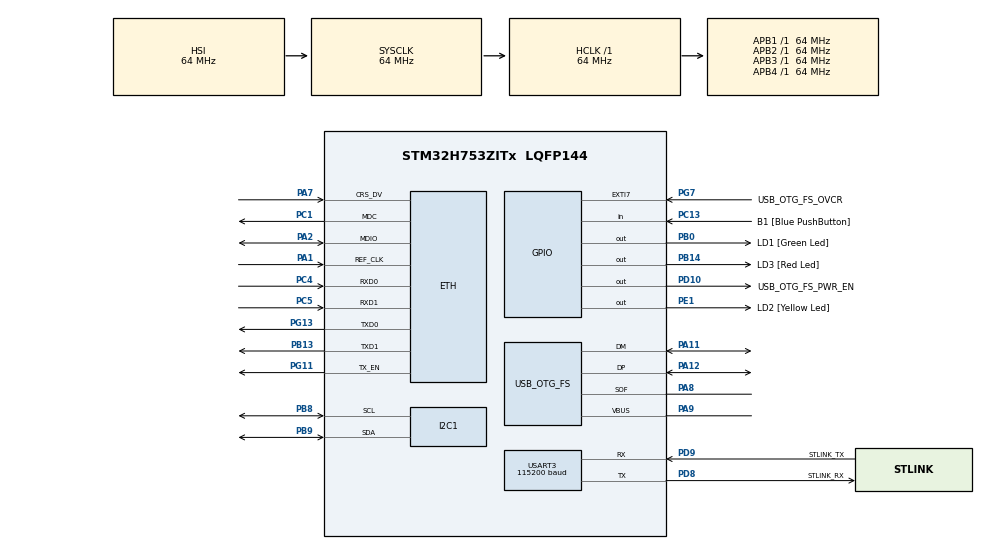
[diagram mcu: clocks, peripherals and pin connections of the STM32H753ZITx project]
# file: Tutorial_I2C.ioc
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CORTEX_M7.CPU_DCache=Disabled
CORTEX_M7.CPU_ICache=Disabled
CORTEX_M7.MPU_Control=__NULL
ETH.ETH_RX_DESC_CNT=4
ETH.ETH_TX_DESC_CNT=4
ETH.MACAddr=00\:80\:E1\:00\:00\:00
ETH.MediaInterface=HAL_ETH_RMII_MODE
ETH.RxBuffAddress=0x30040200
ETH.RxBuffLen=1524
ETH.RxDescAddress=0x30040000
ETH.TxDescAddress=0x30040060
Mcu.Family=STM32H7
Mcu.Name=STM32H753ZITx
Mcu.Package=LQFP144
NVIC.PriorityGroup=NVIC_PRIORITYGROUP_4
NVIC.USART3_IRQn=true\:0\:0\:false\:false\:true\:true\:true\:true
PA1.Mode=RMII
PA1.Signal=ETH_REF_CLK
PA11.Mode=Device_Only
PA11.Signal=USB_OTG_FS_DM
PA12.Mode=Device_Only
PA12.Signal=USB_OTG_FS_DP
PA2.Mode=RMII
PA2.Signal=ETH_MDIO
PA7.Mode=RMII
PA7.Signal=ETH_CRS_DV
PA8.Mode=Activate_SOF_FS
PA8.Signal=USB_OTG_FS_SOF
PA9.Mode=Activate_VBUS
PA9.Signal=USB_OTG_FS_VBUS
PB0.GPIO_Label=LD1 [Green Led]
PB0.Signal=GPIO_Output
PB13.Mode=RMII
PB13.Signal=ETH_TXD1
PB14.GPIO_Label=LD3 [Red Led]
PB14.Signal=GPIO_Output
PB8.GPIO_Pu=GPIO_PULLUP
PB8.GPIO_Speed=GPIO_SPEED_FREQ_VERY_HIGH
PB8.Mode=I2C
PB8.Signal=I2C1_SCL
PB9.GPIO_Pu=GPIO_PULLUP
PB9.GPIO_Speed=GPIO_SPEED_FREQ_VERY_HIGH
PB9.Mode=I2C
PB9.Signal=I2C1_SDA
PC1.Mode=RMII
PC1.Signal=ETH_MDC
PC13.GPIO_Label=B1 [Blue PushButton]
PC13.Signal=GPIO_Input
PC14-OSC32_IN\ (OSC32_IN).Mode=LSE-External-Oscillator
PC14-OSC32_IN\ (OSC32_IN).Signal=RCC_OSC32_IN
PC15-OSC32_OUT\ (OSC32_OUT).Mode=LSE-External-Oscillator
PC15-OSC32_OUT\ (OSC32_OUT).Signal=RCC_OSC32_OUT
PC4.Mode=RMII
PC4.Signal=ETH_RXD0
PC5.Mode=RMII
PC5.Signal=ETH_RXD1
PD10.GPIO_Label=USB_OTG_FS_PWR_EN
PD10.Signal=GPIO_Output
PD8.GPIO_Label=STLINK_RX
PD8.GPIO_PuPd=GPIO_NOPULL
PD8.GPIO_Speed=GPIO_SPEED_FREQ_HIGH
PD8.Mode=Asynchronous
PD8.Signal=USART3_TX
PD9.GPIO_Label=STLINK_TX
PD9.GPIO_PuPd=GPIO_NOPULL
PD9.GPIO_Speed=GPIO_SPEED_FREQ_HIGH
PD9.Mode=Asynchronous
PD9.Signal=USART3_RX
PE1.GPIO_Label=LD2 [Yellow Led]
PE1.Signal=GPIO_Output
PG11.Mode=RMII
PG11.Signal=ETH_TX_EN
PG13.Mode=RMII
PG13.Signal=ETH_TXD0
PG7.GPIO_Label=USB_OTG_FS_OVCR
PG7.Signal=GPXTI7
PH0-OSC_IN\ (PH0).Mode=HSE-External-Clock-Source
PH0-OSC_IN\ (PH0).Signal=RCC_OSC_IN
PH1-OSC_OUT\ (PH1).Signal=RCC_OSC_OUT
ProjectManager.HeapSize=0x200
ProjectManager.StackSize=0x400
ProjectManager.TargetToolchain=STM32CubeIDE
RCC.ADCFreq_Value=16125000
RCC.APB1Freq_Value=64000000
RCC.APB2Freq_Value=64000000
RCC.APB3Freq_Value=64000000
RCC.APB4Freq_Value=64000000
RCC.CortexFreq_Value=64000000
RCC.DIVM1=1
RCC.DIVN1=24
RCC.DIVQ1=4
RCC.HCLKFreq_Value=64000000
RCC.HSE_VALUE=8000000
RCC.PLLFRACN=0
RCC.PWR_Regulator_Voltage_Scale=PWR_REGULATOR_VOLTAGE_SCALE2
RCC.SYSCLKFreq_VALUE=64000000
RCC.USBFreq_Value=48000000
USART3.AutoBaudRateEnableParam=UART_ADVFEATURE_AUTOBAUDRATE_DISABLE
USART3.BaudRate=115200
USART3.ClockPrescaler=PRESCALER_DIV1
USART3.DMADisableonRxErrorParam=ADVFEATURE_DMA_ENABLEONRXERROR
USART3.DataInvertParam=ADVFEATURE_DATAINV_DISABLE
USART3.FIFOMode=FIFOMODE_DISABLE
USART3.MSBFirstParam=ADVFEATURE_MSBFIRST_DISABLE
USART3.Mode=MODE_TX_RX
USART3.OneBitSampling=UART_ONE_BIT_SAMPLE_DISABLE
USART3.OverSampling=UART_OVERSAMPLING_16
USART3.OverrunDisableParam=ADVFEATURE_OVERRUN_ENABLE
USART3.Parity=PARITY_NONE
USART3.RXFIFOThreshold=RXFIFO_THRESHOLD_1EIGHTHFULL
USART3.RxPinLevelInvertParam=ADVFEATURE_RXINV_DISABLE
USART3.StopBits=STOPBITS_1
USART3.SwapParam=ADVFEATURE_SWAP_DISABLE
USART3.TXFIFOThreshold=TXFIFO_THRESHOLD_1EIGHTHFULL
USART3.TxPinLevelInvertParam=ADVFEATURE_TXINV_DISABLE
USART3.VirtualMode-Asynchronous=VM_ASYNC
USART3.WordLength=WORDLENGTH_8B
USB_OTG_FS.Sof_enable=ENABLE
USB_OTG_FS.VirtualMode=Device_Only
USB_OTG_FS.battery_charging_enable=ENABLE
USB_OTG_FS.low_power_enable=DISABLE
USB_OTG_FS.lpm_enable=DISABLE
USB_OTG_FS.use_dedicated_ep1=DISABLE
USB_OTG_FS.vbus_sensing_enable=ENABLE
VP_MEMORYMAP_VS_MEMORYMAP.Mode=CurAppReg
board=NUCLEO-H753ZI

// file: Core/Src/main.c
/* USER CODE BEGIN Header */
/**
  ******************************************************************************
  * @file           : main.c
  * @brief          : Main program body
  ******************************************************************************
  * @attention
  *
  * Copyright (c) 2024 STMicroelectronics.
  * All rights reserved.
  *
  * This software is licensed under terms that can be found in the LICENSE file
  * in the root directory of this software component.
  * If no LICENSE file comes with this software, it is provided AS-IS.
  *
  ******************************************************************************
  */
/* USER CODE END Header */
#include "main.h"
#include "string.h"

/* USER CODE BEGIN Includes */
#include <stdio.h>
#include <stdlib.h>
/* USER CODE END Includes */

/* USER CODE BEGIN PD */
#define PCF8591_ADDRESS 0x48 << 1
/* USER CODE END PD */

#if defined ( __ICCARM__ ) /*!< IAR Compiler */
#pragma location=0x30040000
ETH_DMADescTypeDef  DMARxDscrTab[ETH_RX_DESC_CNT]; /* Ethernet Rx DMA Descriptors */
#pragma location=0x30040060
ETH_DMADescTypeDef  DMATxDscrTab[ETH_TX_DESC_CNT]; /* Ethernet Tx DMA Descriptors */

#elif defined ( __CC_ARM )  /* MDK ARM Compiler */

__attribute__((at(0x30040000))) ETH_DMADescTypeDef  DMARxDscrTab[ETH_RX_DESC_CNT]; /* Ethernet Rx DMA Descriptors */
__attribute__((at(0x30040060))) ETH_DMADescTypeDef  DMATxDscrTab[ETH_TX_DESC_CNT]; /* Ethernet Tx DMA Descriptors */

#elif defined ( __GNUC__ ) /* GNU Compiler */

ETH_DMADescTypeDef DMARxDscrTab[ETH_RX_DESC_CNT] __attribute__((section(".RxDecripSection"))); /* Ethernet Rx DMA Descriptors */
ETH_DMADescTypeDef DMATxDscrTab[ETH_TX_DESC_CNT] __attribute__((section(".TxDecripSection")));   /* Ethernet Tx DMA Descriptors */
#endif

ETH_TxPacketConfig TxConfig;

ETH_HandleTypeDef heth;

I2C_HandleTypeDef hi2c1;

UART_HandleTypeDef huart3;

PCD_HandleTypeDef hpcd_USB_OTG_FS;

void SystemClock_Config(void);
static void MX_GPIO_Init(void);
static void MX_ETH_Init(void);
static void MX_USART3_UART_Init(void);
static void MX_USB_OTG_FS_PCD_Init(void);
static void MX_I2C1_Init(void);

/* USER CODE BEGIN 0 */
char command_buffer[13];

char * clean_command_buffer(char *command) {
    while (*command == '\r' || *command == '\n') {
        command++;
    }
    return command;
}

void read_analog(uint8_t channel) {
    uint8_t command_ain;
    uint8_t data;

    switch (channel) {
        case 0: command_ain = 0x40; break;
        case 1: command_ain = 0x41; break;
        case 3: command_ain = 0x43; break;
        default: return;
    }

    HAL_I2C_Master_Transmit(&hi2c1, (uint16_t)PCF8591_ADDRESS, &command_ain, 1, HAL_MAX_DELAY);
    HAL_I2C_Master_Receive(&hi2c1, (uint16_t)PCF8591_ADDRESS, &data, 1, HAL_MAX_DELAY);

    char msg[20];
	sprintf(msg, "AIN%d: %d\n", channel, data);
    HAL_UART_Transmit(&huart3, (uint8_t*)msg, strlen(msg), HAL_MAX_DELAY);
}

void set_dac(uint8_t value) {
    uint8_t command = 0x40;
    uint8_t data[2] = {command, value};

    HAL_I2C_Master_Transmit(&hi2c1, (uint16_t)PCF8591_ADDRESS, data, 2, HAL_MAX_DELAY);

    char msg[20];
    sprintf(msg, "DAC Value: %d\n", value);
    HAL_UART_Transmit(&huart3, (uint8_t*)msg, strlen(msg), HAL_MAX_DELAY);
}

void process_command(char *command) {

	command = clean_command_buffer(command);

    if (strncmp(command, "Read_AIN0", 9) == 0) {
        read_analog(0);
    } else if (strncmp(command, "Read_AIN1", 9) == 0) {
        read_analog(1);
    } else if (strncmp(command, "Read_AIN3", 9) == 0) {
        read_analog(3);
    } else if (strncmp(command, "Set_DAC_", 8) == 0) {
        char *endptr;
        long value = strtol(&command[8], &endptr, 10);

        if (*endptr == '\0' && value >= 0 && value <= 255) {
            set_dac((uint8_t)value);
        } else {
            char error_msg[] = "Valor invalido para o DAC. Deve estar entre 0 e 255.\n";
            HAL_UART_Transmit(&huart3, (uint8_t*)error_msg, strlen(error_msg), HAL_MAX_DELAY);
        }
    } else {
        char error_msg[] = "Comando desconhecido. \n";
        HAL_UART_Transmit(&huart3, (uint8_t*)error_msg, strlen(error_msg), HAL_MAX_DELAY);
    }
}

/* USER CODE END 0 */

int main(void)
{

  /* MCU Configuration--------------------------------------------------------*/

  /* Reset of all peripherals, Initializes the Flash interface and the Systick. */
  HAL_Init();

  /* Configure the system clock */
  SystemClock_Config();

  /* Initialize all configured peripherals */
  MX_GPIO_Init();
  MX_ETH_Init();
  MX_USART3_UART_Init();
  MX_USB_OTG_FS_PCD_Init();
  MX_I2C1_Init();
  /* USER CODE BEGIN 2 */
  memset(command_buffer, 0, sizeof(command_buffer));
  HAL_UART_Receive_IT(&huart3, (uint8_t*)command_buffer, sizeof(command_buffer) - 1);
  /* USER CODE END 2 */

  /* Infinite loop */

    /* USER CODE BEGIN 3 */
  while (1)
  {
   /* USER CODE BEGIN WHILE */

   /* USER CODE END WHILE */
  }
  /* USER CODE END 3 */
}

void SystemClock_Config(void)
{
  RCC_OscInitTypeDef RCC_OscInitStruct = {0};
  RCC_ClkInitTypeDef RCC_ClkInitStruct = {0};

  /** Supply configuration update enable
  */
  HAL_PWREx_ConfigSupply(PWR_LDO_SUPPLY);

  /** Configure the main internal regulator output voltage
  */
  __HAL_PWR_VOLTAGESCALING_CONFIG(PWR_REGULATOR_VOLTAGE_SCALE2);

  while(!__HAL_PWR_GET_FLAG(PWR_FLAG_VOSRDY)) {}

  /** Initializes the RCC Oscillators according to the specified parameters
  * in the RCC_OscInitTypeDef structure.
  */
  RCC_OscInitStruct.OscillatorType = RCC_OSCILLATORTYPE_HSI|RCC_OSCILLATORTYPE_HSE;
  RCC_OscInitStruct.HSEState = RCC_HSE_BYPASS;
  RCC_OscInitStruct.HSIState = RCC_HSI_DIV1;
  RCC_OscInitStruct.HSICalibrationValue = RCC_HSICALIBRATION_DEFAULT;
  RCC_OscInitStruct.PLL.PLLState = RCC_PLL_ON;
  RCC_OscInitStruct.PLL.PLLSource = RCC_PLLSOURCE_HSE;
  RCC_OscInitStruct.PLL.PLLM = 1;
  RCC_OscInitStruct.PLL.PLLN = 24;
  RCC_OscInitStruct.PLL.PLLP = 2;
  RCC_OscInitStruct.PLL.PLLQ = 4;
  RCC_OscInitStruct.PLL.PLLR = 2;
  RCC_OscInitStruct.PLL.PLLRGE = RCC_PLL1VCIRANGE_3;
  RCC_OscInitStruct.PLL.PLLVCOSEL = RCC_PLL1VCOWIDE;
  RCC_OscInitStruct.PLL.PLLFRACN = 0;
  if (HAL_RCC_OscConfig(&RCC_OscInitStruct) != HAL_OK)
  {
    Error_Handler();
  }

  /** Initializes the CPU, AHB and APB buses clocks
  */
  RCC_ClkInitStruct.ClockType = RCC_CLOCKTYPE_HCLK|RCC_CLOCKTYPE_SYSCLK
                              |RCC_CLOCKTYPE_PCLK1|RCC_CLOCKTYPE_PCLK2
                              |RCC_CLOCKTYPE_D3PCLK1|RCC_CLOCKTYPE_D1PCLK1;
  RCC_ClkInitStruct.SYSCLKSource = RCC_SYSCLKSOURCE_HSI;
  RCC_ClkInitStruct.SYSCLKDivider = RCC_SYSCLK_DIV1;
  RCC_ClkInitStruct.AHBCLKDivider = RCC_HCLK_DIV1;
  RCC_ClkInitStruct.APB3CLKDivider = RCC_APB3_DIV1;
  RCC_ClkInitStruct.APB1CLKDivider = RCC_APB1_DIV1;
  RCC_ClkInitStruct.APB2CLKDivider = RCC_APB2_DIV1;
  RCC_ClkInitStruct.APB4CLKDivider = RCC_APB4_DIV1;

  if (HAL_RCC_ClockConfig(&RCC_ClkInitStruct, FLASH_LATENCY_1) != HAL_OK)
  {
    Error_Handler();
  }
}

static void MX_ETH_Init(void)
{

   static uint8_t MACAddr[6];

  heth.Instance = ETH;
  MACAddr[0] = 0x00;
  MACAddr[1] = 0x80;
  MACAddr[2] = 0xE1;
  MACAddr[3] = 0x00;
  MACAddr[4] = 0x00;
  MACAddr[5] = 0x00;
  heth.Init.MACAddr = &MACAddr[0];
  heth.Init.MediaInterface = HAL_ETH_RMII_MODE;
  heth.Init.TxDesc = DMATxDscrTab;
  heth.Init.RxDesc = DMARxDscrTab;
  heth.Init.RxBuffLen = 1524;

  if (HAL_ETH_Init(&heth) != HAL_OK)
  {
    Error_Handler();
  }

  memset(&TxConfig, 0 , sizeof(ETH_TxPacketConfig));
  TxConfig.Attributes = ETH_TX_PACKETS_FEATURES_CSUM | ETH_TX_PACKETS_FEATURES_CRCPAD;
  TxConfig.ChecksumCtrl = ETH_CHECKSUM_IPHDR_PAYLOAD_INSERT_PHDR_CALC;
  TxConfig.CRCPadCtrl = ETH_CRC_PAD_INSERT;

}

static void MX_I2C1_Init(void)
{

  hi2c1.Instance = I2C1;
  hi2c1.Init.Timing = 0x10707DBC;
  hi2c1.Init.OwnAddress1 = 0;
  hi2c1.Init.AddressingMode = I2C_ADDRESSINGMODE_7BIT;
  hi2c1.Init.DualAddressMode = I2C_DUALADDRESS_DISABLE;
  hi2c1.Init.OwnAddress2 = 0;
  hi2c1.Init.OwnAddress2Masks = I2C_OA2_NOMASK;
  hi2c1.Init.GeneralCallMode = I2C_GENERALCALL_DISABLE;
  hi2c1.Init.NoStretchMode = I2C_NOSTRETCH_DISABLE;
  if (HAL_I2C_Init(&hi2c1) != HAL_OK)
  {
    Error_Handler();
  }

  /** Configure Analogue filter
  */
  if (HAL_I2CEx_ConfigAnalogFilter(&hi2c1, I2C_ANALOGFILTER_ENABLE) != HAL_OK)
  {
    Error_Handler();
  }

  /** Configure Digital filter
  */
  if (HAL_I2CEx_ConfigDigitalFilter(&hi2c1, 0) != HAL_OK)
  {
    Error_Handler();
  }

}

static void MX_USART3_UART_Init(void)
{

  huart3.Instance = USART3;
  huart3.Init.BaudRate = 115200;
  huart3.Init.WordLength = UART_WORDLENGTH_8B;
  huart3.Init.StopBits = UART_STOPBITS_1;
  huart3.Init.Parity = UART_PARITY_NONE;
  huart3.Init.Mode = UART_MODE_TX_RX;
  huart3.Init.HwFlowCtl = UART_HWCONTROL_NONE;
  huart3.Init.OverSampling = UART_OVERSAMPLING_16;
  huart3.Init.OneBitSampling = UART_ONE_BIT_SAMPLE_DISABLE;
  huart3.Init.ClockPrescaler = UART_PRESCALER_DIV1;
  huart3.AdvancedInit.AdvFeatureInit = UART_ADVFEATURE_NO_INIT;
  if (HAL_UART_Init(&huart3) != HAL_OK)
  {
    Error_Handler();
  }
  if (HAL_UARTEx_SetTxFifoThreshold(&huart3, UART_TXFIFO_THRESHOLD_1_8) != HAL_OK)
  {
    Error_Handler();
  }
  if (HAL_UARTEx_SetRxFifoThreshold(&huart3, UART_RXFIFO_THRESHOLD_1_8) != HAL_OK)
  {
    Error_Handler();
  }
  if (HAL_UARTEx_DisableFifoMode(&huart3) != HAL_OK)
  {
    Error_Handler();
  }

}

static void MX_USB_OTG_FS_PCD_Init(void)
{

  hpcd_USB_OTG_FS.Instance = USB_OTG_FS;
  hpcd_USB_OTG_FS.Init.dev_endpoints = 9;
  hpcd_USB_OTG_FS.Init.speed = PCD_SPEED_FULL;
  hpcd_USB_OTG_FS.Init.dma_enable = DISABLE;
  hpcd_USB_OTG_FS.Init.phy_itface = PCD_PHY_EMBEDDED;
  hpcd_USB_OTG_FS.Init.Sof_enable = ENABLE;
  hpcd_USB_OTG_FS.Init.low_power_enable = DISABLE;
  hpcd_USB_OTG_FS.Init.lpm_enable = DISABLE;
  hpcd_USB_OTG_FS.Init.battery_charging_enable = ENABLE;
  hpcd_USB_OTG_FS.Init.vbus_sensing_enable = ENABLE;
  hpcd_USB_OTG_FS.Init.use_dedicated_ep1 = DISABLE;
  if (HAL_PCD_Init(&hpcd_USB_OTG_FS) != HAL_OK)
  {
    Error_Handler();
  }

}

static void MX_GPIO_Init(void)
{
  GPIO_InitTypeDef GPIO_InitStruct = {0};

  /* GPIO Ports Clock Enable */
  __HAL_RCC_GPIOC_CLK_ENABLE();
  __HAL_RCC_GPIOH_CLK_ENABLE();
  __HAL_RCC_GPIOA_CLK_ENABLE();
  __HAL_RCC_GPIOB_CLK_ENABLE();
  __HAL_RCC_GPIOD_CLK_ENABLE();
  __HAL_RCC_GPIOG_CLK_ENABLE();
  __HAL_RCC_GPIOE_CLK_ENABLE();

  /*Configure GPIO pin Output Level */
  HAL_GPIO_WritePin(GPIOB, LD1_Pin|LD3_Pin, GPIO_PIN_RESET);

  /*Configure GPIO pin Output Level */
  HAL_GPIO_WritePin(USB_OTG_FS_PWR_EN_GPIO_Port, USB_OTG_FS_PWR_EN_Pin, GPIO_PIN_RESET);

  /*Configure GPIO pin Output Level */
  HAL_GPIO_WritePin(LD2_GPIO_Port, LD2_Pin, GPIO_PIN_RESET);

  /*Configure GPIO pin : B1_Pin */
  GPIO_InitStruct.Pin = B1_Pin;
  GPIO_InitStruct.Mode = GPIO_MODE_INPUT;
  GPIO_InitStruct.Pull = GPIO_NOPULL;
  HAL_GPIO_Init(B1_GPIO_Port, &GPIO_InitStruct);

  /*Configure GPIO pins : LD1_Pin LD3_Pin */
  GPIO_InitStruct.Pin = LD1_Pin|LD3_Pin;
  GPIO_InitStruct.Mode = GPIO_MODE_OUTPUT_PP;
  GPIO_InitStruct.Pull = GPIO_NOPULL;
  GPIO_InitStruct.Speed = GPIO_SPEED_FREQ_LOW;
  HAL_GPIO_Init(GPIOB, &GPIO_InitStruct);

  /*Configure GPIO pin : USB_OTG_FS_PWR_EN_Pin */
  GPIO_InitStruct.Pin = USB_OTG_FS_PWR_EN_Pin;
  GPIO_InitStruct.Mode = GPIO_MODE_OUTPUT_PP;
  GPIO_InitStruct.Pull = GPIO_NOPULL;
  GPIO_InitStruct.Speed = GPIO_SPEED_FREQ_LOW;
  HAL_GPIO_Init(USB_OTG_FS_PWR_EN_GPIO_Port, &GPIO_InitStruct);

  /*Configure GPIO pin : USB_OTG_FS_OVCR_Pin */
  GPIO_InitStruct.Pin = USB_OTG_FS_OVCR_Pin;
  GPIO_InitStruct.Mode = GPIO_MODE_IT_RISING;
  GPIO_InitStruct.Pull = GPIO_NOPULL;
  HAL_GPIO_Init(USB_OTG_FS_OVCR_GPIO_Port, &GPIO_InitStruct);

  /*Configure GPIO pin : LD2_Pin */
  GPIO_InitStruct.Pin = LD2_Pin;
  GPIO_InitStruct.Mode = GPIO_MODE_OUTPUT_PP;
  GPIO_InitStruct.Pull = GPIO_NOPULL;
  GPIO_InitStruct.Speed = GPIO_SPEED_FREQ_LOW;
  HAL_GPIO_Init(LD2_GPIO_Port, &GPIO_InitStruct);

}

/* USER CODE BEGIN 4 */
void HAL_UART_RxCpltCallback(UART_HandleTypeDef *huart){
	if(huart == &huart3){
		process_command(command_buffer);
		memset(command_buffer, 0, sizeof(command_buffer));
        HAL_UART_Receive_IT(&huart3, (uint8_t*)command_buffer, sizeof(command_buffer) - 1);
	}
}
/* USER CODE END 4 */

void Error_Handler(void)
{
  __disable_irq();
  while (1)
  {
  }
}
